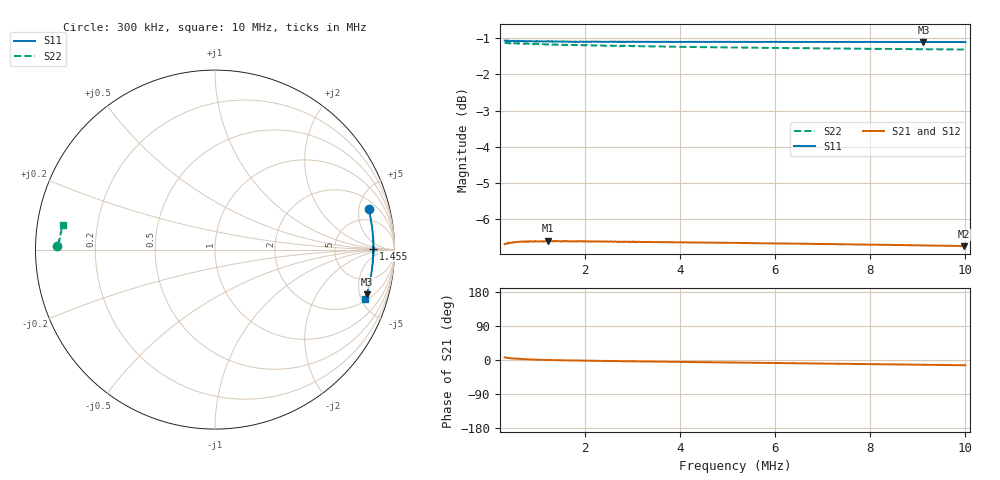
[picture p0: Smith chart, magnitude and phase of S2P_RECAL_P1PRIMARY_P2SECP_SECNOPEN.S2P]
!Keysight Technologies,E5061B,MY49709559,B.05.06
!Date: Fri Apr 08 00:57:08 2022
!Data & Calibration Information:
!Freq	S11:SOLT2(ON)	S21:SOLT2(ON)	S12:SOLT2(ON)	S22:SOLT2(ON)
# Hz S RI R 50
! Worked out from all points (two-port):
!   1000 points, 300 kHz to 10 MHz, reference 50 ohm
!   highest |S21| = -6.61 dB at 1.203 MHz (marker M1); lowest = -6.8 dB at 9.961 MHz (marker M2)
!   |S21| within 3 dB of the highest: start of sweep to end of sweep
!   lowest |S11| = -1.1 dB at 9.116 MHz (marker M3), VSWR 15.77, Z = 130 - j289 ohm
!   |S11| at or under -10 dB: nowhere
!   |S22| runs from -1.3 to -1.1 dB; largest |S21 - S12| = 0.0021
!   S11 on the Smith chart (normalised r, x): 300 kHz: 2.95, +6.24; 1.455 MHz: 16, +1; 10 MHz: 2.20, -5.39
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300000  0.8553 0.2286  0.4588 0.0556  0.4577 0.0559  -0.8778 0.022
329129.1  0.8601 0.2062  0.4603 0.0497  0.4602 0.0504  -0.8785 0.0216
367968  0.8655 0.1831  0.4619 0.0441  0.4621 0.0445  -0.878 0.0205
406806.8  0.8688 0.1635  0.4626 0.0392  0.4636 0.0393  -0.8772 0.0195
455355.4  0.8725 0.1436  0.4635 0.0337  0.4641 0.0341  -0.8757 0.0194
494194.2  0.8742 0.1305  0.464 0.0307  0.4644 0.0308  -0.8772 0.0191
542742.7  0.8756 0.116  0.4646 0.0269  0.4652 0.0263  -0.8769 0.0196
620420.4  0.8784 0.0971  0.4656 0.0211  0.4664 0.0219  -0.8765 0.0196
736936.9  0.8799 0.0761  0.466 0.016  0.4665 0.0153  -0.8768 0.0218
872872.9  0.8814 0.0562  0.4663 0.00986  0.4665 0.00963  -0.8752 0.0227
1037938  0.882 0.0383  0.4664 0.00449  0.4668 0.00462  -0.8745 0.0243
1203003  0.8828 0.0241  0.4673 0.000577  0.4669 4.66e-05  -0.8739 0.026
1455455  0.8826 0.00612  0.4666 -0.00518  0.4661 -0.00548  -0.8728 0.0299
1921522  0.882 -0.0188  0.4665 -0.0132  0.4655 -0.0145  -0.8715 0.0366
2542943  0.8811 -0.0456  0.4655 -0.0224  0.4645 -0.0238  -0.8695 0.0447
3543043  0.8776 -0.0817  0.464 -0.0357  0.4631 -0.0364  -0.8665 0.0573
5154855  0.871 -0.1334  0.4608 -0.0553  0.4597 -0.0556  -0.862 0.0781
6766667  0.8622 -0.1819  0.4567 -0.074  0.4558 -0.074  -0.8579 0.0989
8388188  0.851 -0.229  0.452 -0.0921  0.4509 -0.0916  -0.8535 0.1195
9116416  0.8446 -0.2495  0.4494 -0.1002  0.4486 -0.0994  -0.8515 0.1285
9961161  0.8375 -0.2733  0.4462 -0.1092  0.4455 -0.1084  -0.8488 0.1391
1e7  0.8373 -0.2744  0.4462 -0.1097  0.4452 -0.1088  -0.8488 0.1396
